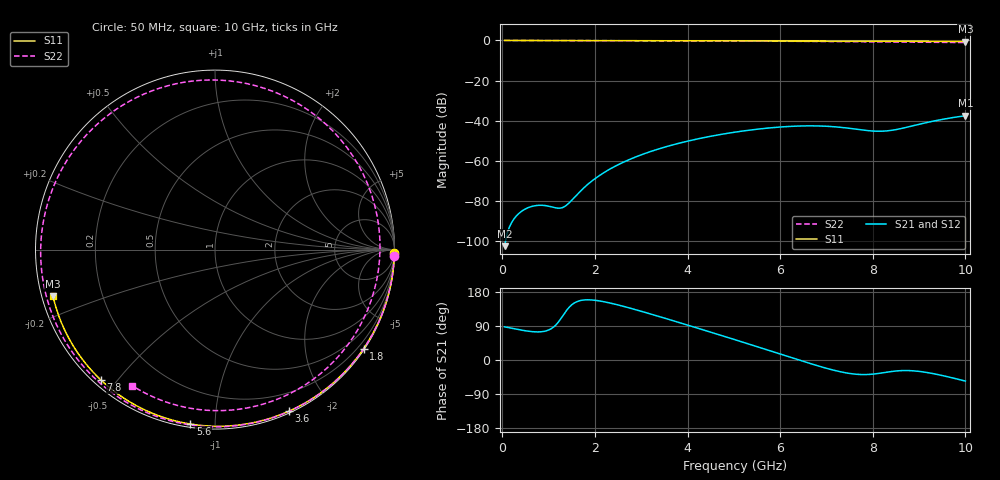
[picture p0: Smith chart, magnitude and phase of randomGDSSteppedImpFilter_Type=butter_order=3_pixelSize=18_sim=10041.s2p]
! freq	dB(S11)	phase(S11)	dB(S12)	phase(S12)
!  dB(S21)	phase(S21)	dB(S22)	phase(S22)
!S-par simulation data
#  GHz  S  DB  R 50
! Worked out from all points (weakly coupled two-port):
!   200 points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, 50 MHz to 10 GHz, reference 50 ohm
!   highest |S21| = -37.56 dB at 10 GHz (marker M1); lowest = -102.7 dB at 50 MHz (marker M2)
!   lowest |S11| = -0.5 dB at 10 GHz (marker M3), VSWR 31.88, Z = 1.6 - j7.03 ohm
!   |S11| at or under -10 dB: nowhere
!   |S22| runs from -1.0 to 0.0 dB; largest |S21 - S12| = 0
!   S11 on the Smith chart (normalised r, x): 50 MHz: open; 1.8 GHz: 0.03, -3.30; 3.6 GHz: 0.02, -1.55; 5.6 GHz: 0.02, -0.87; 7.8 GHz: 0.02, -0.45; 10 GHz: 0.03, -0.14
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0.05  -0.00 -1.0  -102.66 87.5  -102.66 87.5  -0.00 -2.0
0.7  -0.02 -13.3  -82.50 74.3  -82.50 74.3  -0.03 -28.0
1.45  -0.03 -27.3  -80.90 140.0  -80.90 140.0  -0.07 -57.0
1.75  -0.04 -32.8  -73.78 158.2  -73.78 158.2  -0.08 -68.3
1.8  -0.04 -33.7  -72.73 158.8  -72.73 158.8  -0.09 -70.1
2.45  -0.06 -45.4  -62.62 146.8  -62.62 146.8  -0.11 -93.6
3.4  -0.08 -62.1  -53.96 114.3  -53.96 114.3  -0.16 -126.8
3.6  -0.09 -65.5  -52.62 107.0  -52.62 107.0  -0.17 -133.7
4.35  -0.11 -78.0  -48.50 79.1  -48.50 79.1  -0.21 -159.9
5.05  -0.14 -89.3  -45.67 52.6  -45.67 52.6  -0.27 173.9
5.6  -0.16 -98.0  -44.04 31.4  -44.04 31.4  -0.32 151.1
6.15  -0.19 -106.5  -42.97 9.9  -42.97 9.9  -0.39 125.1
6.7  -0.22 -114.8  -42.62 -11.2  -42.62 -11.2  -0.48 94.7
7  -0.24 -119.3  -42.81 -21.9  -42.81 -21.9  -0.53 75.9
7.25  -0.26 -123.0  -43.23 -29.7  -43.23 -29.7  -0.58 59.0
7.8  -0.31 -131.1  -44.75 -38.5  -44.75 -38.5  -0.68 19.2
8.05  -0.33 -134.8  -45.26 -36.6  -45.26 -36.6  -0.73 0.5
8.35  -0.36 -139.2  -45.02 -31.3  -45.02 -31.3  -0.78 -21.7
8.75  -0.40 -145.2  -43.23 -27.8  -43.23 -27.8  -0.84 -49.7
9.1  -0.43 -150.4  -41.31 -31.7  -41.31 -31.7  -0.90 -72.2
9.5  -0.48 -156.4  -39.39 -40.9  -39.39 -40.9  -0.96 -95.5
10  -0.55 -164.0  -37.56 -55.6  -37.56 -55.6  -1.04 -121.3
